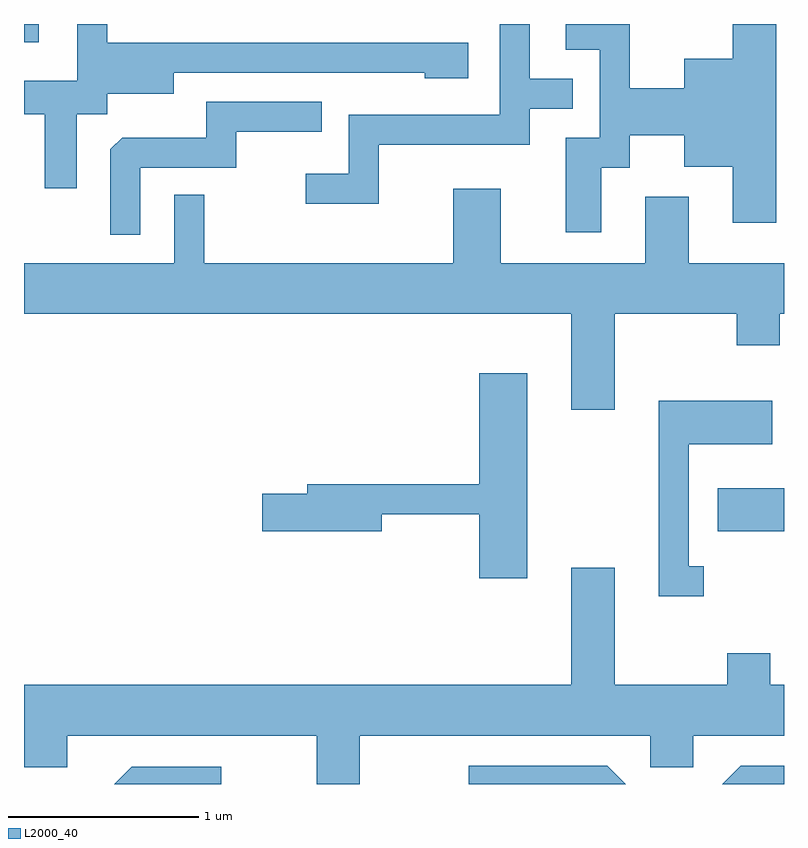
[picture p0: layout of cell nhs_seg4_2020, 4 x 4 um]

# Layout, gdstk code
import gdstk
lib = gdstk.Library(unit=1e-6, precision=1e-09)
def R(c, l, rs):  # rectangles x0, y0, x1, y1
    for r in rs: c.add(gdstk.rectangle(r[:2], r[2:], *l))
def P(c, l, *ps):  # polygons
    for p in ps: c.add(gdstk.Polygon(p, *l))
L2000_40 = (2000, 40)

nhs_seg4_2020 = lib.new_cell('nhs_seg4_2020')
R(nhs_seg4_2020, L2000_40, [(247.261,1351.311,247.611,1351.539), (243.611,1353.886,243.689,1353.982)])
P(nhs_seg4_2020, L2000_40, [(243.889,1353.506),(244.049,1353.506),(244.049,1353.616),(244.399,1353.616),(244.399,1353.726),(245.721,1353.726),(245.721,1353.696),(245.949,1353.696),(245.949,1353.884),(244.049,1353.884),(244.049,1353.982),(243.891,1353.982),(243.891,1353.684),(243.611,1353.684),(243.611,1353.506),(243.721,1353.506),(243.721,1353.118),(243.889,1353.118)],
  [(245.479,1353.346),(246.274,1353.346),(246.274,1353.536),(246.498,1353.536),(246.498,1353.694),(246.274,1353.694),(246.274,1353.982),(246.116,1353.982),(246.116,1353.504),(245.321,1353.504),(245.321,1353.194),(245.093,1353.194),(245.093,1353.036),(245.479,1353.036)],
  [(246.649,1353.226),(246.799,1353.226),(246.799,1353.396),(247.086,1353.396),(247.086,1353.231),(247.341,1353.231),(247.341,1352.936),(247.569,1352.936),(247.569,1353.982),(247.341,1353.982),(247.341,1353.799),(247.086,1353.799),(247.086,1353.644),(246.799,1353.644),(246.799,1353.982),(246.461,1353.982),(246.461,1353.846),(246.641,1353.846),(246.641,1353.384),(246.461,1353.384),(246.461,1352.886),(246.649,1352.886)],
  [(244.224,1353.226),(244.729,1353.226),(244.729,1353.416),(245.178,1353.416),(245.178,1353.574),(244.571,1353.574),(244.571,1353.384),(244.127,1353.384),(244.066,1353.324),(244.066,1352.873),(244.224,1352.873)],
  [(246.719,1352.456),(247.361,1352.456),(247.361,1352.291),(247.589,1352.291),(247.589,1352.456),(247.611,1352.456),(247.611,1352.724),(247.109,1352.724),(247.109,1353.074),(246.881,1353.074),(246.881,1352.724),(246.119,1352.724),(246.119,1353.114),(245.871,1353.114),(245.871,1352.724),(244.559,1352.724),(244.559,1353.083),(244.401,1353.083),(244.401,1352.724),(243.611,1352.724),(243.611,1352.456),(246.491,1352.456),(246.491,1351.951),(246.719,1351.951)],
  [(246.259,1352.144),(246.006,1352.144),(246.006,1351.559),(245.101,1351.559),(245.101,1351.509),(244.866,1351.509),(244.866,1351.311),(245.494,1351.311),(245.494,1351.401),(246.006,1351.401),(246.006,1351.066),(246.259,1351.066)],
  [(247.188,1351.129),(247.109,1351.129),(247.109,1351.771),(247.549,1351.771),(247.549,1351.999),(246.951,1351.999),(246.951,1350.971),(247.188,1350.971)],
  [(245.379,1350.236),(246.906,1350.236),(246.906,1350.071),(247.134,1350.071),(247.134,1350.236),(247.611,1350.236),(247.611,1350.504),(247.539,1350.504),(247.539,1350.669),(247.311,1350.669),(247.311,1350.504),(246.719,1350.504),(246.719,1351.119),(246.491,1351.119),(246.491,1350.504),(243.611,1350.504),(243.611,1350.071),(243.839,1350.071),(243.839,1350.236),(245.151,1350.236),(245.151,1349.982),(245.379,1349.982)],
  [(246.682,1350.079),(245.951,1350.079),(245.951,1349.982),(246.779,1349.982)],
  [(247.611,1350.079),(247.384,1350.079),(247.287,1349.982),(247.611,1349.982)],
  [(244.648,1350.074),(244.179,1350.074),(244.086,1349.982),(244.648,1349.982)])

lib.write_gds('nhs_seg4_2020.gds')
